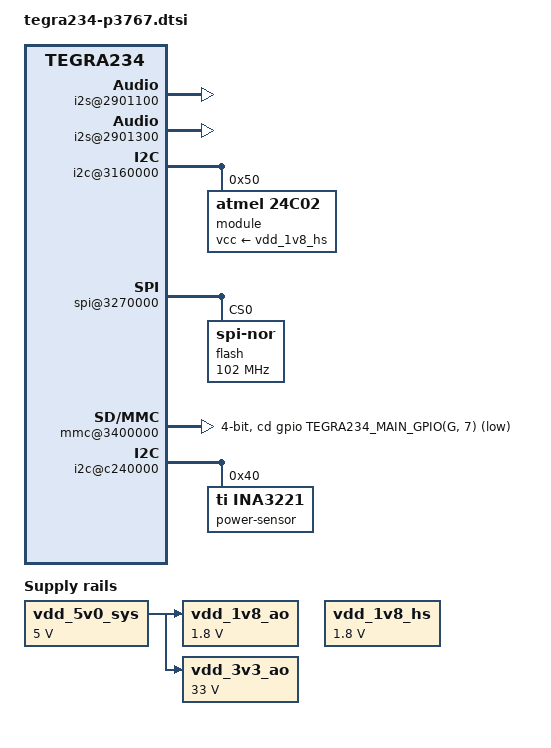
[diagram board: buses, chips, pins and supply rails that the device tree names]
// SPDX-License-Identifier: GPL-2.0

#include "tegra234.dtsi"

/ {
	compatible = "nvidia,p3767", "nvidia,tegra234";

	aliases {
		mmc0 = "/bus@0/mmc@3400000";
	};

	bus@0 {
		aconnect@2900000 {
			status = "okay";

			ahub@2900800 {
				status = "okay";

				i2s@2901100 {
					status = "okay";
				};

				i2s@2901300 {
					status = "okay";
				};
			};

			dma-controller@2930000 {
				status = "okay";
			};

			interrupt-controller@2a40000 {
				status = "okay";
			};
		};

		i2c@3160000 {
			status = "okay";

			eeprom@50 {
				compatible = "atmel,24c02";
				reg = <0x50>;

				label = "module";
				vcc-supply = <&vdd_1v8_hs>;
				address-width = <8>;
				pagesize = <8>;
				size = <256>;
				read-only;
			};
		};

		spi@3270000 {
			status = "okay";

			flash@0 {
				compatible = "jedec,spi-nor";
				reg = <0>;
				spi-max-frequency = <102000000>;
				spi-tx-bus-width = <4>;
				spi-rx-bus-width = <4>;
			};
		};

		/*
		 * This only exists on Jetson Orin Nano Developer Kit (SKU 5)
		 * but UEFI needs this and will remove it on devices where it
		 * doesn't exist.
		 */
		mmc@3400000 {
			status = "okay";
			bus-width = <4>;
			cd-gpios = <&gpio TEGRA234_MAIN_GPIO(G, 7) GPIO_ACTIVE_LOW>;
			disable-wp;
		};

		hda@3510000 {
			status = "okay";
		};

		padctl@3520000 {
			vclamp-usb-supply = <&vdd_1v8_ao>;
			avdd-usb-supply = <&vdd_3v3_ao>;
		};

		i2c@c240000 {
			status = "okay";

			power-sensor@40 {
				compatible = "ti,ina3221";
				reg = <0x40>;
				#address-cells = <1>;
				#size-cells = <0>;

				input@0 {
					reg = <0x0>;
					label = "VDD_IN";
					shunt-resistor-micro-ohms = <5000>;
				};

				input@1 {
					reg = <0x1>;
					label = "VDD_CPU_GPU_CV";
					shunt-resistor-micro-ohms = <5000>;
				};

				input@2 {
					reg = <0x2>;
					label = "VDD_SOC";
					shunt-resistor-micro-ohms = <5000>;
				};
			};
		};

		rtc@c2a0000 {
			status = "okay";
		};

		pmc@c360000 {
			nvidia,invert-interrupt;
		};
	};

	vdd_5v0_sys: regulator-vdd-5v0-sys {
		compatible = "regulator-fixed";
		regulator-name = "VDD_5V0_SYS";
		regulator-min-microvolt = <5000000>;
		regulator-max-microvolt = <5000000>;
		regulator-always-on;
	};

	vdd_1v8_hs: regulator-vdd-1v8-hs {
		compatible = "regulator-fixed";
		regulator-name = "VDD_1V8_HS";
		regulator-min-microvolt = <1800000>;
		regulator-max-microvolt = <1800000>;
		regulator-always-on;
	};

	vdd_1v8_ao: regulator-vdd-1v8-ao {
		compatible = "regulator-fixed";
		regulator-name = "VDD_1V8_AO";
		regulator-min-microvolt = <1800000>;
		regulator-max-microvolt = <1800000>;
		regulator-always-on;
		vin-supply = <&vdd_5v0_sys>;
	};

	vdd_3v3_ao: regulator-vdd-3v3-ao {
		compatible = "regulator-fixed";
		regulator-name = "VDD_3V3_AO";
		regulator-min-microvolt = <33000000>;
		regulator-max-microvolt = <33000000>;
		regulator-always-on;
		vin-supply = <&vdd_5v0_sys>;
	};

	sound {
		compatible = "nvidia,tegra186-audio-graph-card";
		status = "okay";

		dais = /* ADMAIF (FE) Ports */
		       <&admaif0_port>, <&admaif1_port>, <&admaif2_port>, <&admaif3_port>,
		       <&admaif4_port>, <&admaif5_port>, <&admaif6_port>, <&admaif7_port>,
		       <&admaif8_port>, <&admaif9_port>, <&admaif10_port>, <&admaif11_port>,
		       <&admaif12_port>, <&admaif13_port>, <&admaif14_port>, <&admaif15_port>,
		       <&admaif16_port>, <&admaif17_port>, <&admaif18_port>, <&admaif19_port>,
		       /* XBAR Ports */
		       <&xbar_i2s2_port>, <&xbar_i2s4_port>,
		       <&xbar_sfc1_in_port>, <&xbar_sfc2_in_port>,
		       <&xbar_sfc3_in_port>, <&xbar_sfc4_in_port>,
		       <&xbar_mvc1_in_port>, <&xbar_mvc2_in_port>,
		       <&xbar_amx1_in1_port>, <&xbar_amx1_in2_port>,
		       <&xbar_amx1_in3_port>, <&xbar_amx1_in4_port>,
		       <&xbar_amx2_in1_port>, <&xbar_amx2_in2_port>,
		       <&xbar_amx2_in3_port>, <&xbar_amx2_in4_port>,
		       <&xbar_amx3_in1_port>, <&xbar_amx3_in2_port>,
		       <&xbar_amx3_in3_port>, <&xbar_amx3_in4_port>,
		       <&xbar_amx4_in1_port>, <&xbar_amx4_in2_port>,
		       <&xbar_amx4_in3_port>, <&xbar_amx4_in4_port>,
		       <&xbar_adx1_in_port>, <&xbar_adx2_in_port>,
		       <&xbar_adx3_in_port>, <&xbar_adx4_in_port>,
		       <&xbar_mix_in1_port>, <&xbar_mix_in2_port>,
		       <&xbar_mix_in3_port>, <&xbar_mix_in4_port>,
		       <&xbar_mix_in5_port>, <&xbar_mix_in6_port>,
		       <&xbar_mix_in7_port>, <&xbar_mix_in8_port>,
		       <&xbar_mix_in9_port>, <&xbar_mix_in10_port>,
		       <&xbar_asrc_in1_port>, <&xbar_asrc_in2_port>,
		       <&xbar_asrc_in3_port>, <&xbar_asrc_in4_port>,
		       <&xbar_asrc_in5_port>, <&xbar_asrc_in6_port>,
		       <&xbar_asrc_in7_port>,
		       <&xbar_ope1_in_port>,
		       /* HW accelerators */
		       <&sfc1_out_port>, <&sfc2_out_port>,
		       <&sfc3_out_port>, <&sfc4_out_port>,
		       <&mvc1_out_port>, <&mvc2_out_port>,
		       <&amx1_out_port>, <&amx2_out_port>,
		       <&amx3_out_port>, <&amx4_out_port>,
		       <&adx1_out1_port>, <&adx1_out2_port>,
		       <&adx1_out3_port>, <&adx1_out4_port>,
		       <&adx2_out1_port>, <&adx2_out2_port>,
		       <&adx2_out3_port>, <&adx2_out4_port>,
		       <&adx3_out1_port>, <&adx3_out2_port>,
		       <&adx3_out3_port>, <&adx3_out4_port>,
		       <&adx4_out1_port>, <&adx4_out2_port>,
		       <&adx4_out3_port>, <&adx4_out4_port>,
		       <&mix_out1_port>, <&mix_out2_port>, <&mix_out3_port>,
		       <&mix_out4_port>, <&mix_out5_port>,
		       <&asrc_out1_port>, <&asrc_out2_port>, <&asrc_out3_port>,
		       <&asrc_out4_port>, <&asrc_out5_port>, <&asrc_out6_port>,
		       <&ope1_out_port>,
		       /* BE I/O Ports */
		       <&i2s2_port>, <&i2s4_port>;
	};

	thermal-zones {
		tj-thermal {
			polling-delay = <1000>;
			polling-delay-passive = <1000>;
			status = "okay";

			trips {
				tj_trip_active0: active-0 {
					temperature = <35000>;
					hysteresis = <4000>;
					type = "active";
				};

				tj_trip_active1: active-1 {
					temperature = <74000>;
					hysteresis = <4000>;
					type = "active";
				};

				tj_trip_active2: active-2 {
					temperature = <95000>;
					hysteresis = <4000>;
					type = "active";
				};
			};
		};
	};
};
